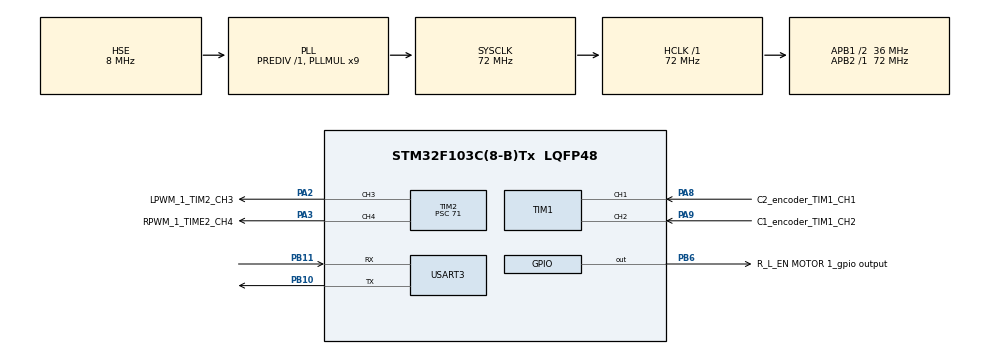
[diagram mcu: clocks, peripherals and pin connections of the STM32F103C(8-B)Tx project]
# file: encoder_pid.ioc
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Mcu.Family=STM32F1
Mcu.Name=STM32F103C(8-B)Tx
Mcu.Package=LQFP48
NVIC.PriorityGroup=NVIC_PRIORITYGROUP_4
PA13.Mode=Serial_Wire
PA13.Signal=SYS_JTMS-SWDIO
PA14.Mode=Serial_Wire
PA14.Signal=SYS_JTCK-SWCLK
PA2.GPIO_Label=LPWM_1_TIM2_CH3
PA2.Signal=S_TIM2_CH3
PA3.GPIO_Label=RPWM_1_TIME2_CH4
PA3.Signal=S_TIM2_CH4
PA8.GPIO_Label=C2_encoder_TIM1_CH1
PA8.Signal=S_TIM1_CH1
PA9.GPIO_Label=C1_encoder_TIM1_CH2
PA9.Signal=S_TIM1_CH2
PB10.Mode=Asynchronous
PB10.Signal=USART3_TX
PB11.Mode=Asynchronous
PB11.Signal=USART3_RX
PB6.GPIO_Label=R_L_EN MOTOR 1_gpio output
PB6.Signal=GPIO_Output
PD0-OSC_IN.Mode=HSE-External-Oscillator
PD0-OSC_IN.Signal=RCC_OSC_IN
PD1-OSC_OUT.Mode=HSE-External-Oscillator
PD1-OSC_OUT.Signal=RCC_OSC_OUT
ProjectManager.HeapSize=0x200
ProjectManager.StackSize=0x400
ProjectManager.TargetToolchain=STM32CubeIDE
RCC.AHBFreq_Value=72000000
RCC.APB1CLKDivider=RCC_HCLK_DIV2
RCC.APB1Freq_Value=36000000
RCC.APB1TimFreq_Value=72000000
RCC.APB2Freq_Value=72000000
RCC.APB2TimFreq_Value=72000000
RCC.HCLKFreq_Value=72000000
RCC.PLLMUL=RCC_PLL_MUL9
RCC.PLLSourceVirtual=RCC_PLLSOURCE_HSE
RCC.SYSCLKFreq_VALUE=72000000
RCC.SYSCLKSource=RCC_SYSCLKSOURCE_PLLCLK
RCC.USBFreq_Value=72000000
SH.S_TIM1_CH1.0=TIM1_CH1,Encoder_Interface
SH.S_TIM1_CH2.0=TIM1_CH2,Encoder_Interface
SH.S_TIM2_CH3.0=TIM2_CH3,PWM Generation3 CH3
SH.S_TIM2_CH4.0=TIM2_CH4,PWM Generation4 CH4
TIM2.Channel-PWM\ Generation3\ CH3=TIM_CHANNEL_3
TIM2.Channel-PWM\ Generation4\ CH4=TIM_CHANNEL_4
TIM2.Period=999
TIM2.Prescaler=71
USART3.VirtualMode=VM_ASYNC
board=custom

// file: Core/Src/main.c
/* USER CODE BEGIN Header */
/**
  ******************************************************************************
  * @file           : main.c
  * @brief          : Main program body
  ******************************************************************************
  * @attention
  *
  * Copyright (c) 2026 STMicroelectronics.
  * All rights reserved.
  *
  ******************************************************************************
  */
/* USER CODE END Header */
#include "main.h"
#include "tim.h"
#include "usart.h"
#include "gpio.h"

/* USER CODE BEGIN Includes */
#include <stdio.h>
#include <string.h>
#include <stdint.h>
#include <stdbool.h>
#include <math.h>
/* USER CODE END Includes */

/* USER CODE BEGIN PD */

/* =========================
   THONG SO PWM + MOTOR
   ========================= */

#define PWM_MAX               999     // Phai khop voi Period cua TIM2
#define PID_INTEGRAL_LIMIT    1.0f

#define MOTOR_FORWARD         1
#define MOTOR_BACKWARD       -1
#define MOTOR_STOP            0

#define MOTOR_DIR             1       // Doi thanh -1 neu motor quay nguoc
#define ENCODER_DIR           1       // Doi thanh -1 neu encoder dem nguoc

/*
  Motor 111 rpm:
  Neu thong so 111 rpm la toc do truc ra sau hop so,
  thi MOTOR_MAX_RPM = 111.0f la dung.
*/
#define MOTOR_MAX_RPM         111.0f

/*
  Thong so banh + encoder
*/
#define WHEEL_DIAMETER_M      0.100f  // 100 mm = 0.100 m
#define ENCODER_PPR           11.0f   // so xung encoder moi vong truc motor ( xem trong data sheet)
#define GEAR_RATIO            30.0f   // ti so hop so, vi du 1:30
#define ENCODER_MULTIPLIER    4.0f    // encoder mode x4

#define PI_VALUE              3.1415926f

#define WHEEL_CIRCUMFERENCE_M (PI_VALUE * WHEEL_DIAMETER_M)   // tinh chuvi banh xe  cv = pi * dkinh banh
#define ENCODER_PER_REV_OF_WHEEEL  (ENCODER_PPR * ENCODER_MULTIPLIER * GEAR_RATIO) //số count encoder đếm được khi bánh xe quay đúng 1 vòng.
#define METER_PER_COUNT_OF_ENCODER       (WHEEL_CIRCUMFERENCE_M / ENCODER_PER_REV_OF_WHEEEL) //quãng đường xe đi được ứng với 1 count encoder.

/*
  Toc do max ly thuyet:
  111 rpm, banh 100 mm => ~0.581 m/s

*/
#define MOTOR_MAX_SPEED_MPS   ((MOTOR_MAX_RPM / 60.0f) * WHEEL_CIRCUMFERENCE_M)  //tốc độ = số vòng mỗi giây * chu vi bánh xe

/*
  Chu ky PID
*/
#define PID_SAMPLE_TIME_MS    10           //PID được tính mỗi 10 mili giây.
#define PID_SAMPLE_TIME_S     ((float)PID_SAMPLE_TIME_MS / 1000.0f)  // doi sang giay

#define SPEED_DEADBAND_MPS    0.005f      //// Ngưỡng bỏ qua sai số tốc độ nhỏ, giúp motor không rung, 0.005 m/s

/* =========================
   BIEN DIEU KHIEN MOTOR
   ========================= */

volatile float target_speed_mps = 0.0f;
volatile float current_speed_mps = 0.0f;
volatile float speed_error_mps = 0.0f;

volatile int motor_pwm = 0;
volatile int encoder_delta = 0;

static uint16_t encoder_last = 0;

volatile int target_pwm = 0;          // PWM tuong ung voi target_speed_mps
volatile int pid_pwm_correction = 0;  // PWM PID bu them
/* USER CODE END PD */

/* USER CODE BEGIN PV */

/* =========================
   BIEN PID
   ========================= */

/*
  PID da co feed-forward nen Kp khong can qua cao.
  Neu xe len toc do cham: tang Ki len 300-400.
  Neu xe rung/dao dong: giam Kp xuong 250-300.
*/
float Kp = 350.0f;
float Ki = 250.0f;
float Kd = 0.0f;

static float pid_error = 0.0f;
static float pid_last_error = 0.0f;
static float pid_integral = 0.0f;
static float pid_derivative = 0.0f;

/* USER CODE END PV */

void SystemClock_Config(void);
/* USER CODE BEGIN PFP */

void Motor_Init(void);
void Motor_SetPWM(int pwm);
void Set_Direction_and_PWM(int direction, int pwm);
void Motor_Stop(void);

int Encoder_GetDelta(void);
float Encoder_DeltaToMPS(int delta);

void Motor_SetSpeedMPS(float speed_mps);
void PID_Reset(void);
int PID_UpdateMPS(float target, float current);
void Motor_PID_Run(void);
void Motor_SendDebugUART(void);

bool SetVelocity(float speed, bool isRight);
int SpeedToTargetPWM(float speed_mps);
/* USER CODE END PFP */

/* USER CODE BEGIN 0 */

/* =========================================================
   1. KHOI TAO MOTOR + ENCODER + PWM
   ========================================================= */

void Motor_Init(void)
{
  // Bat encoder TIM1
  HAL_TIM_Encoder_Start(&htim1, TIM_CHANNEL_ALL);  // Bat 2 chan encoder c1,c2 cua motor

  // Bat hai chan rPWM v LPWM cua TIM2, CH3 va CH4 ( huong nang: quyet dinh huong quay)
  HAL_TIM_PWM_Start(&htim2, TIM_CHANNEL_3); // PA2 - LPWM
  HAL_TIM_PWM_Start(&htim2, TIM_CHANNEL_4); // PA3 - RPWM

  // Enable driver motor
  HAL_GPIO_WritePin(GPIOB, GPIO_PIN_6, GPIO_PIN_SET); // R_EN + L_EN, xuất mức HIGH ra chân PB6 để bật driver motor.

  // PWM ban dau = 0
  __HAL_TIM_SET_COMPARE(&htim2, TIM_CHANNEL_3, 0);
  __HAL_TIM_SET_COMPARE(&htim2, TIM_CHANNEL_4, 0);

  // Reset encoder
  __HAL_TIM_SET_COUNTER(&htim1, 0);
  encoder_last = 0;

  // Reset toc do + PID
  target_speed_mps = 0.0f;
  current_speed_mps = 0.0f;
  speed_error_mps = 0.0f;
  motor_pwm = 0;
  encoder_delta = 0;

  PID_Reset();
}

/* =========================================================
   2. SET PWM CHO MOTOR
   pwm > 0: quay thuan
   pwm < 0: quay nghich
   pwm = 0: dung
   ========================================================= */

void Motor_SetPWM(int pwm)
{
  pwm = pwm * MOTOR_DIR;

  if (pwm > PWM_MAX)
    pwm = PWM_MAX;

  if (pwm < -PWM_MAX)
    pwm = -PWM_MAX;

  if (pwm > 0)
  {
    // Quay thuan: RPWM chay, LPWM tat
    __HAL_TIM_SET_COMPARE(&htim2, TIM_CHANNEL_4, pwm); // RPWM
    __HAL_TIM_SET_COMPARE(&htim2, TIM_CHANNEL_3, 0);   // LPWM
  }
  else if (pwm < 0)
  {
    // Quay nghich: LPWM tat, RPWM tat nguoc
    __HAL_TIM_SET_COMPARE(&htim2, TIM_CHANNEL_4, 0);
    __HAL_TIM_SET_COMPARE(&htim2, TIM_CHANNEL_3, -pwm);
  }
  else
  {
    // Dung motor
    __HAL_TIM_SET_COMPARE(&htim2, TIM_CHANNEL_4, 0);
    __HAL_TIM_SET_COMPARE(&htim2, TIM_CHANNEL_3, 0);
  }
}

/* =========================================================
   3. SET CHIEU + PWM
   direction = MOTOR_FORWARD / MOTOR_BACKWARD / MOTOR_STOP
   ========================================================= */

void Set_Direction_and_PWM(int direction, int pwm)
{
  if (pwm < 0)
    pwm = -pwm;

  if (pwm > PWM_MAX)
    pwm = PWM_MAX;

  if (direction == MOTOR_FORWARD) // FORWARD = 1
  {
    Motor_SetPWM(pwm);
  }
  else if (direction == MOTOR_BACKWARD) // BACKWARD = -1
  {
    Motor_SetPWM(-pwm);
  }
  else
  {
    Motor_SetPWM(0);
  }
}

/* =========================================================
   4. DUNG MOTOR
   ========================================================= */

void Motor_Stop(void)
{
  Motor_SetPWM(0);

  target_speed_mps = 0.0f;
  current_speed_mps = 0.0f;
  speed_error_mps = 0.0f;
  motor_pwm = 0;
  encoder_delta = 0;

  PID_Reset();
}

/* =========================================================
   5. DOC ENCODER DELTA
   Tra ve so xung encoder trong 1 chu ky dieu khien
   Ham nay xu ly duoc tran counter 16-bit
   ========================================================= */

int Encoder_GetDelta(void)
{
  uint16_t encoder_now = (uint16_t)__HAL_TIM_GET_COUNTER(&htim1);

  int16_t delta = (int16_t)(encoder_now - encoder_last);

  encoder_last = encoder_now;

  return ENCODER_DIR * delta;
}

/* =========================================================
   6. DOI ENCODER DELTA SANG m/s
   delta: so xung encoder trong PID_SAMPLE_TIME_MS
   return: toc do hien tai, don vi m/s
   ========================================================= */

float Encoder_DeltaToMPS(int delta)
{
  float distance_m = (float)delta * METER_PER_COUNT_OF_ENCODER;
  float speed_mps = distance_m / PID_SAMPLE_TIME_S;  //tính tốc độ

  return speed_mps;
}

/* =========================================================
   7. SET TOC DO MONG MUON THEO m/s
   Vi du:
   Motor_SetSpeedMPS(0.30f);   // 0.30 m/s
   Motor_SetSpeedMPS(-0.30f);  // -0.30 m/s
   Motor_SetSpeedMPS(0.0f);    // dung
   ========================================================= */

void Motor_SetSpeedMPS(float speed_mps)
{
  /*
    Gioi han toc do theo motor 111 rpm.
    Max ly thuyet voi banh 100 mm la ~0.581 m/s.
  */
  if (speed_mps > MOTOR_MAX_SPEED_MPS)
    speed_mps = MOTOR_MAX_SPEED_MPS;

  if (speed_mps < -MOTOR_MAX_SPEED_MPS)
    speed_mps = -MOTOR_MAX_SPEED_MPS;

  target_speed_mps = speed_mps;
}

/* =========================================================
   8. RESET PID
   ========================================================= */

void PID_Reset(void)
{
  pid_error = 0.0f;
  pid_last_error = 0.0f;
  pid_integral = 0.0f;
  pid_derivative = 0.0f;

  target_pwm = 0;
  pid_pwm_correction = 0;
}

/* =========================================================
   9. TINH PID THEO DON VI m/s
   Co feed-forward theo motor 111 rpm.
   target: toc do mong muon, m/s
   current: toc do thuc te, m/s
   return: gia tri PWM
   ========================================================= */
int PID_UpdateMPS(float target, float current)
{
  if (fabsf(target) < SPEED_DEADBAND_MPS)
  {
    speed_error_mps = 0.0f;
    pid_error = 0.0f;
    pid_last_error = 0.0f;
    pid_integral = 0.0f;
    pid_derivative = 0.0f;

    target_pwm = 0;
    pid_pwm_correction = 0;

    return 0;
  }

  pid_error = target - current;
  speed_error_mps = pid_error;

  pid_integral += pid_error * PID_SAMPLE_TIME_S;

  if (pid_integral > PID_INTEGRAL_LIMIT)
    pid_integral = PID_INTEGRAL_LIMIT;

  if (pid_integral < -PID_INTEGRAL_LIMIT)
    pid_integral = -PID_INTEGRAL_LIMIT;

  pid_derivative = (pid_error - pid_last_error) / PID_SAMPLE_TIME_S;
  pid_last_error = pid_error;

  float pwm_feedforward = (float)SpeedToTargetPWM(target);

  float pid_correction = (Kp * pid_error)
                       + (Ki * pid_integral)
                       + (Kd * pid_derivative);

  float output = pwm_feedforward + pid_correction;

  target_pwm = (int)pwm_feedforward;
  pid_pwm_correction = (int)pid_correction;

  if (output > PWM_MAX)
    output = PWM_MAX;

  if (output < -PWM_MAX)
    output = -PWM_MAX;

  return (int)output;
}

/* =========================================================
   10. CHAY 1 CHU KY PID MOTOR
   Goi ham nay moi PID_SAMPLE_TIME_MS
   ========================================================= */

void Motor_PID_Run(void)
{
  // Doc encoder trong 1 chu ky
  encoder_delta = Encoder_GetDelta();

  // Doi sang toc do m/s
  current_speed_mps = Encoder_DeltaToMPS(encoder_delta);

  // Tinh PWM bang PID + feed-forward
  motor_pwm = PID_UpdateMPS(target_speed_mps, current_speed_mps);

  // Xuat PWM ra motor
  Motor_SetPWM(motor_pwm);
}

/* =========================================================
   11. GUI DEBUG QUA UART
   Goi ham nay trong main loop, khong nen goi lien tuc trong interrupt
   In mm/s de khong can bat printf float trong STM32
   ========================================================= */

void Motor_SendDebugUART(void)
{
  char msg[220];

  int target_mmps  = (int)(target_speed_mps * 1000.0f);
  int current_mmps = (int)(current_speed_mps * 1000.0f);
  int error_mmps   = (int)(speed_error_mps * 1000.0f);

  int max_mmps     = (int)(MOTOR_MAX_SPEED_MPS * 1000.0f);

  snprintf(msg, sizeof(msg),
           "Target:%d mm/s, Current:%d mm/s, Error:%d mm/s, TargetPWM:%d, PID_PWM:%d, PWM:%d, Delta:%d, Max:%d mm/s\r\n",
           target_mmps,
           current_mmps,
           error_mmps,
           target_pwm,
           pid_pwm_correction,
           motor_pwm,
           encoder_delta,
           max_mmps);

  HAL_UART_Transmit(&huart3,
                    (uint8_t *)msg,
                    strlen(msg),
                    HAL_MAX_DELAY);
}

/* =========================================================
   12. HAM SET VELOCITY DANG FLOAT
   speed: m/s
   isRight hien tai chua dung vi code nay moi cho 1 motor
   ========================================================= */

bool SetVelocity(float speed, bool isRight)
{
  (void)isRight;

  Motor_SetSpeedMPS(speed);

  return true;
}

int SpeedToTargetPWM(float speed_mps)
{
  if (speed_mps > MOTOR_MAX_SPEED_MPS)
    speed_mps = MOTOR_MAX_SPEED_MPS;

  if (speed_mps < -MOTOR_MAX_SPEED_MPS)
    speed_mps = -MOTOR_MAX_SPEED_MPS;

  return (int)((speed_mps / MOTOR_MAX_SPEED_MPS) * PWM_MAX);
}
/* USER CODE END 0 */

int main(void)
{

  /* MCU Configuration--------------------------------------------------------*/

  /* Reset of all peripherals, Initializes the Flash interface and the Systick. */
  HAL_Init();

  /* Configure the system clock */
  SystemClock_Config();

  /* Initialize all configured peripherals */
  MX_GPIO_Init();
  MX_TIM1_Init();
  MX_TIM2_Init();
  MX_USART3_UART_Init();
  /* USER CODE BEGIN 2 */

  Motor_Init();

  /*
    Toc do muc tieu theo m/s.
    Motor 111 rpm + banh 100 mm:
    Max ly thuyet ~0.581 m/s.
    Nen 0.30 m/s la hop ly.
  */
  Motor_SetSpeedMPS(0.1f);

  uint32_t last_pid_time = 0;
  uint32_t last_debug_time = 0;

  /* USER CODE END 2 */

  /* Infinite loop */
  /* USER CODE BEGIN WHILE */
  while (1)
  {
    uint32_t now = HAL_GetTick();

    /*
      Chay PID dung moi 10 ms.
      Khong dung HAL_Delay de tranh sai chu ky.
    */
    if (now - last_pid_time >= PID_SAMPLE_TIME_MS)
    {
      last_pid_time = now;
      Motor_PID_Run();
    }

    /*
      Gui debug moi 200 ms.
    */
    if (now - last_debug_time >= 200)
    {
      last_debug_time = now;
      Motor_SendDebugUART();
    }

    /* USER CODE END WHILE */

  }
}

void SystemClock_Config(void)
{
  RCC_OscInitTypeDef RCC_OscInitStruct = {0};
  RCC_ClkInitTypeDef RCC_ClkInitStruct = {0};

  /** Initializes the RCC Oscillators according to the specified parameters
  * in the RCC_OscInitTypeDef structure.
  */
  RCC_OscInitStruct.OscillatorType = RCC_OSCILLATORTYPE_HSE;
  RCC_OscInitStruct.HSEState = RCC_HSE_ON;
  RCC_OscInitStruct.HSEPredivValue = RCC_HSE_PREDIV_DIV1;
  RCC_OscInitStruct.HSIState = RCC_HSI_ON;
  RCC_OscInitStruct.PLL.PLLState = RCC_PLL_ON;
  RCC_OscInitStruct.PLL.PLLSource = RCC_PLLSOURCE_HSE;
  RCC_OscInitStruct.PLL.PLLMUL = RCC_PLL_MUL9;
  if (HAL_RCC_OscConfig(&RCC_OscInitStruct) != HAL_OK)
  {
    Error_Handler();
  }

  /** Initializes the CPU, AHB and APB buses clocks
  */
  RCC_ClkInitStruct.ClockType = RCC_CLOCKTYPE_HCLK|RCC_CLOCKTYPE_SYSCLK
                              |RCC_CLOCKTYPE_PCLK1|RCC_CLOCKTYPE_PCLK2;
  RCC_ClkInitStruct.SYSCLKSource = RCC_SYSCLKSOURCE_PLLCLK;
  RCC_ClkInitStruct.AHBCLKDivider = RCC_SYSCLK_DIV1;
  RCC_ClkInitStruct.APB1CLKDivider = RCC_HCLK_DIV2;
  RCC_ClkInitStruct.APB2CLKDivider = RCC_HCLK_DIV1;

  if (HAL_RCC_ClockConfig(&RCC_ClkInitStruct, FLASH_LATENCY_2) != HAL_OK)
  {
    Error_Handler();
  }
}

void Error_Handler(void)
{
  __disable_irq();
  while (1)
  {
  }
}
#ifdef USE_FULL_ASSERT
/**
  * @brief  Reports the name of the source file and the source line number
  *         where the assert_param error has occurred.
  * @param  file: pointer to the source file name
  * @param  line: assert_param error line source number
  * @retval None
  */
void assert_failed(uint8_t *file, uint32_t line)
{
  /* USER CODE BEGIN 6 */

  (void)file;
  (void)line;

  /* USER CODE END 6 */
}
#endif /* USE_FULL_ASSERT */
